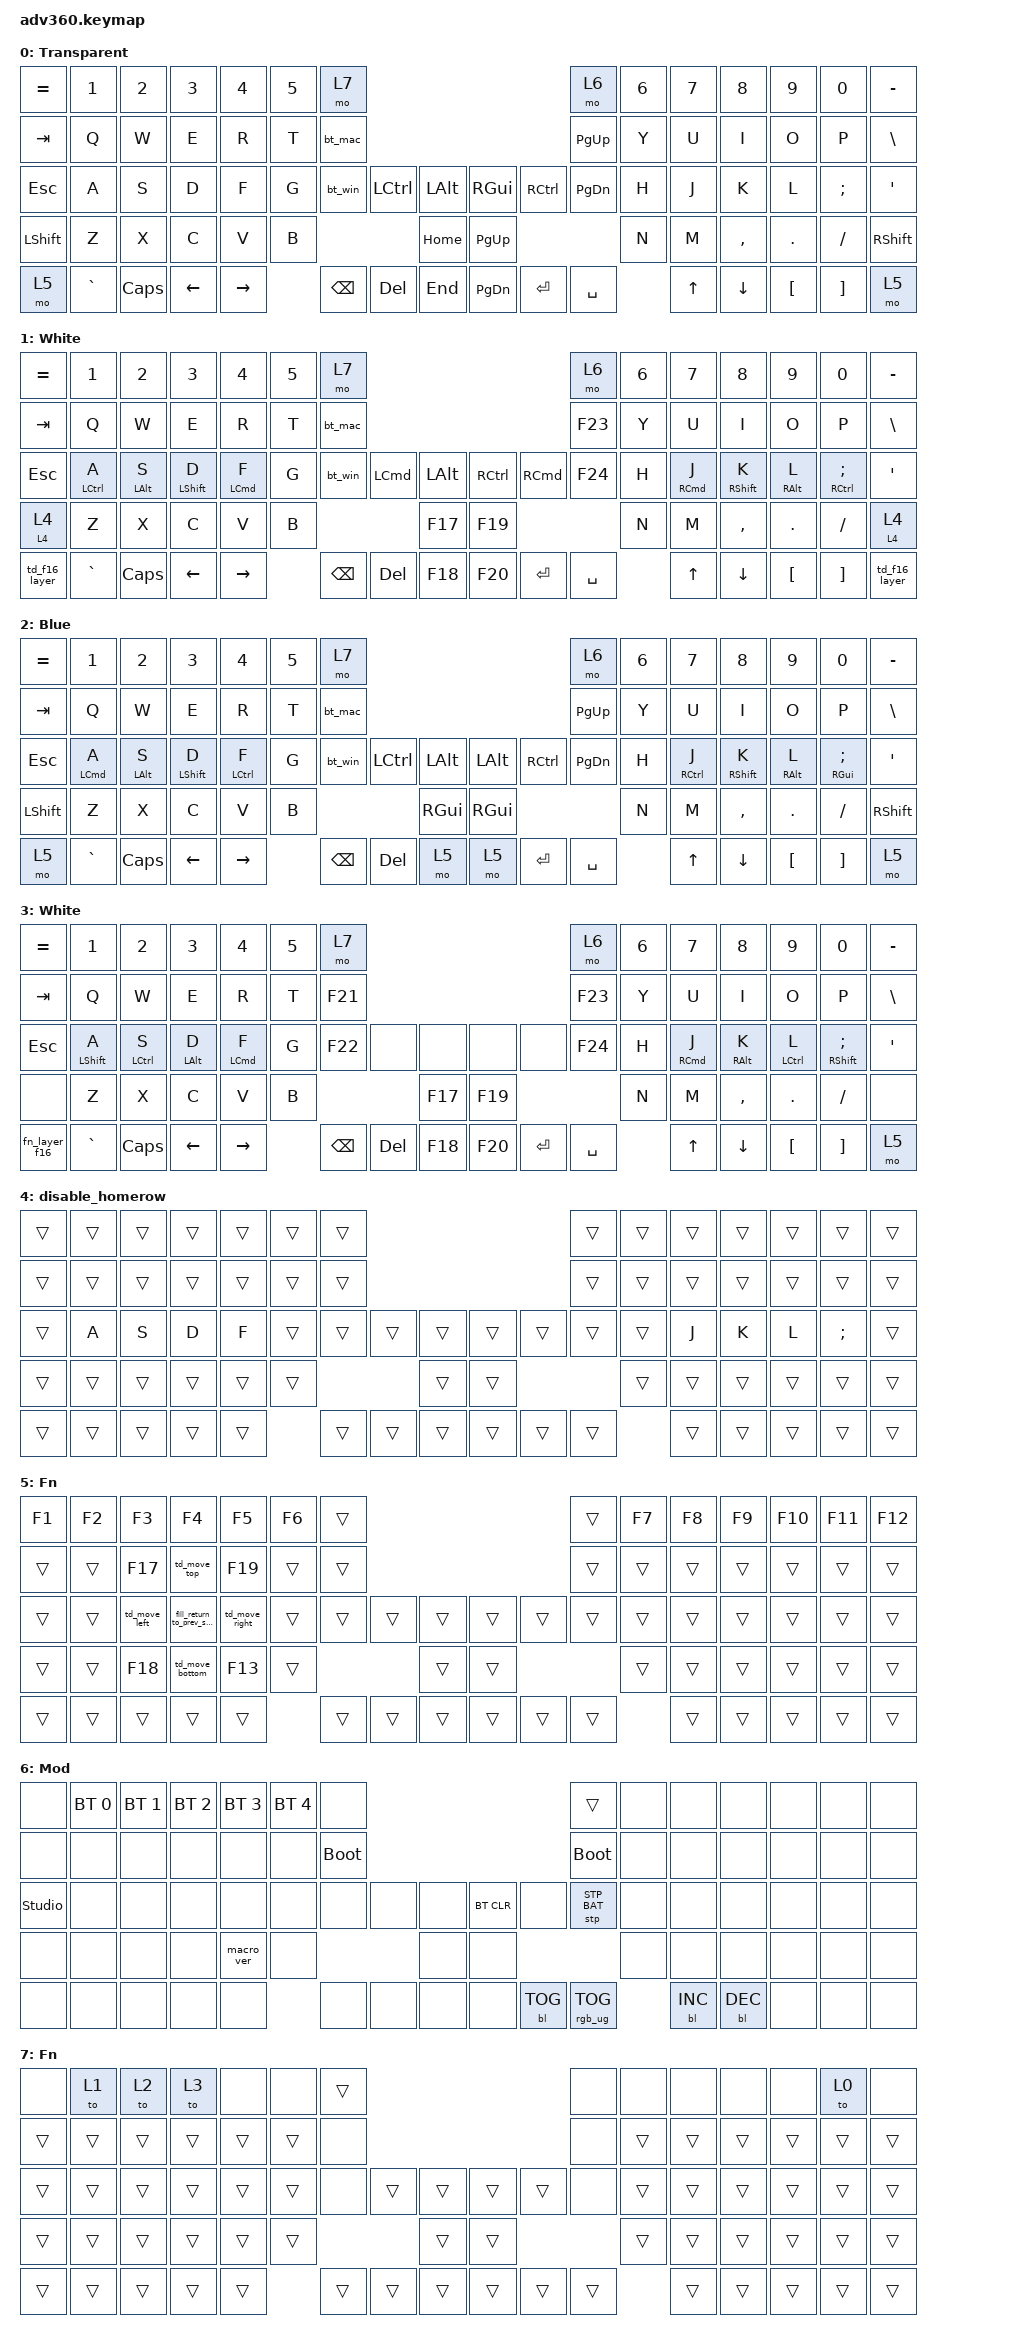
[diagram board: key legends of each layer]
#include <dt-bindings/zmk/stp.h>
#include <behaviors.dtsi>
#include <dt-bindings/zmk/backlight.h>
#include <dt-bindings/zmk/bt.h>
#include <dt-bindings/zmk/keys.h>
#include <dt-bindings/zmk/rgb.h>

/ {
    behaviors {
        #include "macros.dtsi"
      #include "version.dtsi"

        hmr: homerow_mods_right {
            compatible = "zmk,behavior-hold-tap";
            label = "HOMEROW_MODS_RIGHT";
            #binding-cells = <2>;
            tapping-term-ms = <280>;
            flavor = "balanced";
            bindings = <&kp>, <&kp>;

            hold-trigger-key-positions = <0 1 2 3 4 5 6 14 15 16 17 18 19 20 28 29 30 31 32 33 34 35 36 46 47 48 49 50 51 52 61 62 63 64 65 66 67 60>;
            hold-trigger-on-release;
        };

        hml: homerow_mods_left {
            compatible = "zmk,behavior-hold-tap";
            label = "HOMEROW_MODS_LEFT";
            #binding-cells = <2>;
            tapping-term-ms = <280>;
            flavor = "balanced";
            bindings = <&kp>, <&kp>;

            hold-trigger-key-positions = <7 8 9 10 11 12 13 26 27 44 45 58 59 74 7 8 9 10 11 12 13 21 22 23 24 25 26 27 37 38 39 40 41 42 43 44 45 53 54 55 56 57 58 59 68 69 70 71 72 73 74 75>;
            hold-trigger-on-release;
        };

        td_move_top: td_move_top {
            compatible = "zmk,behavior-tap-dance";
            label = "TD_MOVE_TOP";
            #binding-cells = <0>;
            bindings = <&tile_top>, <&arrange_top>;
        };

        td_move_bottom: td_move_bottom {
            compatible = "zmk,behavior-tap-dance";
            label = "TD_MOVE_BOTTOM";
            #binding-cells = <0>;
            bindings = <&tile_bottom>, <&arrange_bottom>;
        };

        td_move_left: td_move_left {
            compatible = "zmk,behavior-tap-dance";
            label = "TD_MOVE_LEFT";
            #binding-cells = <0>;
            bindings = <&tile_left>, <&arrange_left>;
        };

        td_move_right: td_move_right {
            compatible = "zmk,behavior-tap-dance";
            label = "TD_MOVE_RIGHT";
            #binding-cells = <0>;
            bindings = <&tile_right>, <&arrange_right>;
        };

        fill_return_to_prev_size: fill_return_to_prev_size {
            compatible = "zmk,behavior-tap-dance";
            label = "FILL_RETURN_TO_PREV_SIZE";
            #binding-cells = <0>;
            bindings = <&fill>, <&return_to_previous_size>;
        };

        td_f16_layer: td_f16_layer {
            compatible = "zmk,behavior-tap-dance";
            label = "TD_F16_LAYER";
            #binding-cells = <0>;
            bindings = <&fn_layer_f16>, <&mo 5>;

            tapping-term-ms = <100>;
        };

        ht_mo_layer: ht_mo_layer {
            compatible = "zmk,behavior-hold-tap";
            label = "HT_MO_LAYER";
            #binding-cells = <2>;
            tapping-term-ms = <280>;
            flavor = "balanced";
            bindings = <&mo>, <&kp>;

            require-prior-idle-ms = <150>;
        };

        ht_shift: ht_shift {
            compatible = "zmk,behavior-hold-tap";
            label = "HT_SHIFT";
            #binding-cells = <2>;
            tapping-term-ms = <280>;
            flavor = "balanced";
            bindings = <&kp>, <&kp>;

            require-prior-idle-ms = <150>;
        };

        ht_mo_toggle: ht_mo_toggle {
            compatible = "zmk,behavior-hold-tap";
            label = "HT_MO_TOGGLE";
            bindings = <&mo>, <&tog>;

            #binding-cells = <2>;
            tapping-term-ms = <150>;
            hold-while-undecided;
        };
    };

    macros {
        bt_mac: bt_mac {
            compatible = "zmk,behavior-macro";
            #binding-cells = <0>;
            bindings = <&bt BT_SEL 0 &to 1>;
            label = "BT_MAC";
        };

        bt_win: bt_win {
            compatible = "zmk,behavior-macro";
            #binding-cells = <0>;
            bindings = <&bt BT_SEL 1 &to 2>;
            label = "BT_WIN";
        };

        fn_layer_f16: globe_f {
            compatible = "zmk,behavior-macro";
            #binding-cells = <0>;
            bindings =
                <&macro_tap_time 0>,
                <&macro_wait_time 0>,
                <&macro_press>,
                <&mo 5 &kp F16>,
                <&macro_pause_for_release>,
                <&macro_release>,
                <&mo 5 &kp F16>;

            label = "GLOBE_F";
        };

        tile_left: tile_left {
            compatible = "zmk,behavior-macro";
            #binding-cells = <0>;
            bindings =
                <&macro_press>,
                <&kp F16 &kp LEFT_CONTROL &kp LEFT_ARROW>,
                <&macro_release>,
                <&kp F16 &kp LEFT_CONTROL &kp LEFT_ARROW>;

            label = "TILE_LEFT";
        };

        tile_top: tile_top {
            compatible = "zmk,behavior-macro";
            #binding-cells = <0>;
            bindings =
                <&macro_press>,
                <&kp F16 &kp LEFT_CONTROL &kp UP_ARROW>,
                <&macro_release>,
                <&kp F16 &kp LEFT_CONTROL &kp UP_ARROW>;

            label = "TILE_TOP";
        };

        tile_bottom: tile_bottom {
            compatible = "zmk,behavior-macro";
            #binding-cells = <0>;
            bindings =
                <&macro_press>,
                <&kp F16 &kp LEFT_CONTROL &kp DOWN_ARROW>,
                <&macro_release>,
                <&kp F16 &kp LEFT_CONTROL &kp DOWN_ARROW>;

            label = "TILE_BOTTOM";
        };

        tile_right: tile_right {
            compatible = "zmk,behavior-macro";
            #binding-cells = <0>;
            bindings =
                <&macro_press>,
                <&kp F16 &kp LEFT_CONTROL &kp RIGHT_ARROW>,
                <&macro_release>,
                <&kp F16 &kp LEFT_CONTROL &kp RIGHT_ARROW>;

            label = "TILE_RIGHT";
        };

        arrange_left: arrange_left {
            compatible = "zmk,behavior-macro";
            #binding-cells = <0>;
            bindings =
                <&macro_press>,
                <&kp F16 &kp LEFT_CONTROL &kp LEFT_SHIFT &kp LEFT_ARROW>,
                <&macro_release>,
                <&kp F16 &kp LEFT_CONTROL &kp LEFT_SHIFT &kp LEFT_ARROW>;

            label = "ARRANGE_LEFT";
        };

        arrange_right: arrange_right {
            compatible = "zmk,behavior-macro";
            #binding-cells = <0>;
            bindings =
                <&macro_press>,
                <&kp F16 &kp LEFT_CONTROL &kp LEFT_SHIFT &kp RIGHT_ARROW>,
                <&macro_release>,
                <&kp F16 &kp LEFT_CONTROL &kp LEFT_SHIFT &kp RIGHT_ARROW>;

            label = "ARRANGE_RIGHT";
        };

        arrange_top: arrange_top {
            compatible = "zmk,behavior-macro";
            #binding-cells = <0>;
            bindings =
                <&macro_press>,
                <&kp F16 &kp LEFT_CONTROL &kp LEFT_SHIFT &kp UP_ARROW>,
                <&macro_release>,
                <&kp F16 &kp LEFT_CONTROL &kp LEFT_SHIFT &kp UP_ARROW>;

            label = "ARRANGE_TOP";
        };

        arrange_bottom: arrange_bottom {
            compatible = "zmk,behavior-macro";
            #binding-cells = <0>;
            bindings =
                <&macro_press>,
                <&kp F16 &kp LEFT_CONTROL &kp LEFT_SHIFT &kp DOWN_ARROW>,
                <&macro_release>,
                <&kp F16 &kp LEFT_CONTROL &kp LEFT_SHIFT &kp DOWN_ARROW>;

            label = "ARRANGE_BOTTOM";
        };

        fill: fill {
            compatible = "zmk,behavior-macro";
            #binding-cells = <0>;
            bindings =
                <&macro_press>,
                <&kp F16 &kp LEFT_CONTROL &kp F>,
                <&macro_release>,
                <&kp F16 &kp LEFT_CONTROL &kp F>;

            label = "FILL";
        };

        return_to_previous_size: return_to_previous_size {
            compatible = "zmk,behavior-macro";
            #binding-cells = <0>;
            bindings =
                <&macro_press>,
                <&kp F16 &kp LEFT_CONTROL &kp R>,
                <&macro_release>,
                <&kp F16 &kp LEFT_CONTROL &kp R>;

            label = "RETURN_TO_PREVIOUS_SIZE";
        };
    };

    keymap {
        compatible = "zmk,keymap";

        Default {
            display-name = "Transparent";
            bindings = <
&kp EQUAL   &kp N1     &kp N2    &kp N3    &kp N4     &kp N5  &mo 7                                                                   &mo 6          &kp N6  &kp N7  &kp N8     &kp N9    &kp N0    &kp MINUS
&kp TAB     &kp Q      &kp W     &kp E     &kp R      &kp T   &bt_mac                                                                 &kp PAGE_UP    &kp Y   &kp U   &kp I      &kp O     &kp P     &kp BSLH
&kp ESCAPE  &kp A      &kp S     &kp D     &kp F      &kp G   &bt_win   &kp LEFT_CONTROL  &kp LEFT_ALT      &kp RIGHT_GUI  &kp RCTRL  &kp PAGE_DOWN  &kp H   &kp J   &kp K      &kp L     &kp SEMI  &kp SQT
&kp LSHFT   &kp Z      &kp X     &kp C     &kp V      &kp B                               &kp HOME          &kp PG_UP                                &kp N   &kp M   &kp COMMA  &kp DOT   &kp FSLH  &kp RSHFT
&mo 5       &kp GRAVE  &kp CAPS  &kp LEFT  &kp RIGHT          &kp BSPC  &kp DEL           &kp END           &kp PAGE_DOWN  &kp ENTER  &kp SPACE              &kp UP  &kp DOWN   &kp LBKT  &kp RBKT  &mo 5
            >;
        };

        mac {
            display-name = "White";
            bindings = <
&kp EQUAL          &kp N1               &kp N2           &kp N3             &kp N4               &kp N5  &mo 7                                                                               &mo 6      &kp N6  &kp N7                &kp N8              &kp N9            &kp N0                   &kp MINUS
&kp TAB            &kp Q                &kp W            &kp E              &kp R                &kp T   &bt_mac                                                                             &kp F23    &kp Y   &kp U                 &kp I               &kp O             &kp P                    &kp BSLH
&kp ESC            &hml LEFT_CONTROL A  &hml LEFT_ALT S  &hml LEFT_SHIFT D  &hml LEFT_COMMAND F  &kp G   &bt_win   &kp LEFT_COMMAND  &kp LEFT_ALT      &kp RIGHT_CONTROL  &kp RIGHT_COMMAND  &kp F24    &kp H   &hmr RIGHT_COMMAND J  &hmr RIGHT_SHIFT K  &hmr RIGHT_ALT L  &hmr RIGHT_CONTROL SEMI  &kp SQT
&ht_mo_toggle 4 4  &kp Z                &kp X            &kp C              &kp V                &kp B                               &kp F17           &kp F19                                          &kp N   &kp M                 &kp COMMA           &kp DOT           &kp FSLH                 &ht_mo_toggle 4 4
&td_f16_layer      &kp GRAVE            &kp CAPS         &kp LEFT           &kp RIGHT                    &kp BSPC  &kp DEL           &kp F18           &kp F20            &kp ENTER          &kp SPACE          &kp UP                &kp DOWN            &kp LBKT          &kp RBKT                 &td_f16_layer
            >;
        };

        win {
            display-name = "Blue";
            bindings = <
&kp EQUAL   &kp N1               &kp N2           &kp N3             &kp N4               &kp N5  &mo 7                                                                    &mo 6          &kp N6  &kp N7                &kp N8              &kp N9            &kp N0               &kp MINUS
&kp TAB     &kp Q                &kp W            &kp E              &kp R                &kp T   &bt_mac                                                                  &kp PAGE_UP    &kp Y   &kp U                 &kp I               &kp O             &kp P                &kp BSLH
&kp ESCAPE  &hml LEFT_COMMAND A  &hml LEFT_ALT S  &hml LEFT_SHIFT D  &hml LEFT_CONTROL F  &kp G   &bt_win   &kp LEFT_CONTROL  &kp LEFT_ALT       &kp LEFT_ALT   &kp RCTRL  &kp PAGE_DOWN  &kp H   &hmr RIGHT_CONTROL J  &hmr RIGHT_SHIFT K  &hmr RIGHT_ALT L  &hmr RIGHT_GUI SEMI  &kp SQT
&kp LSHFT   &kp Z                &kp X            &kp C              &kp V                &kp B                               &kp RIGHT_GUI      &kp RIGHT_GUI                            &kp N   &kp M                 &kp COMMA           &kp DOT           &kp FSLH             &kp RSHFT
&mo 5       &kp GRAVE            &kp CAPS         &kp LEFT           &kp RIGHT                    &kp BSPC  &kp DEL           &mo 5              &mo 5          &kp ENTER  &kp SPACE              &kp UP                &kp DOWN            &kp LBKT          &kp RBKT             &mo 5
            >;
        };

        mac_learn {
            display-name = "White";
            bindings = <
&kp EQUAL      &kp N1             &kp N2               &kp N3           &kp N4               &kp N5  &mo 7                                               &mo 6      &kp N6  &kp N7                &kp N8            &kp N9               &kp N0                 &kp MINUS
&kp TAB        &kp Q              &kp W                &kp E            &kp R                &kp T   &kp F21                                             &kp F23    &kp Y   &kp U                 &kp I             &kp O                &kp P                  &kp BSLH
&kp ESC        &hml LEFT_SHIFT A  &hml LEFT_CONTROL S  &hml LEFT_ALT D  &hml LEFT_COMMAND F  &kp G   &kp F22   &none    &none        &none    &none      &kp F24    &kp H   &hmr RIGHT_COMMAND J  &hmr RIGHT_ALT K  &hmr LEFT_CONTROL L  &hmr RIGHT_SHIFT SEMI  &kp SQT
&none          &kp Z              &kp X                &kp C            &kp V                &kp B                      &kp F17      &kp F19                        &kp N   &kp M                 &kp COMMA         &kp DOT              &kp FSLH               &none
&fn_layer_f16  &kp GRAVE          &kp CAPS             &kp LEFT         &kp RIGHT                    &kp BSPC  &kp DEL  &kp F18      &kp F20  &kp ENTER  &kp SPACE          &kp UP                &kp DOWN          &kp LBKT             &kp RBKT               &mo 5
            >;
        };

        disable_homerow {
            bindings = <
&trans  &trans  &trans  &trans  &trans  &trans  &trans                                      &trans  &trans  &trans  &trans  &trans  &trans         &trans
&trans  &trans  &trans  &trans  &trans  &trans  &trans                                      &trans  &trans  &trans  &trans  &trans  &trans         &trans
&trans  &kp A   &kp S   &kp D   &kp F   &trans  &trans  &trans  &trans      &trans  &trans  &trans  &trans  &kp J   &kp K   &kp L   &kp SEMICOLON  &trans
&trans  &trans  &trans  &trans  &trans  &trans                  &trans      &trans                  &trans  &trans  &trans  &trans  &trans         &trans
&trans  &trans  &trans  &trans  &trans          &trans  &trans  &trans      &trans  &trans  &trans          &trans  &trans  &trans  &trans         &trans
            >;
        };

        fn {
            display-name = "Fn";
            bindings = <
&kp F1  &kp F2  &kp F3         &kp F4                     &kp F5          &kp F6  &trans                                      &trans  &kp F7  &kp F8  &kp F9  &kp F10  &kp F11  &kp F12
&trans  &trans  &kp F17        &td_move_top               &kp F19         &trans  &trans                                      &trans  &trans  &trans  &trans  &trans   &trans   &trans
&trans  &trans  &td_move_left  &fill_return_to_prev_size  &td_move_right  &trans  &trans  &trans  &trans      &trans  &trans  &trans  &trans  &trans  &trans  &trans   &trans   &trans
&trans  &trans  &kp F18        &td_move_bottom            &kp F13         &trans                  &trans      &trans                  &trans  &trans  &trans  &trans   &trans   &trans
&trans  &trans  &trans         &trans                     &trans                  &trans  &trans  &trans      &trans  &trans  &trans          &trans  &trans  &trans   &trans   &trans
            >;
        };

        mod {
            display-name = "Mod";
            bindings = <
&none           &bt BT_SEL 0  &bt BT_SEL 1  &bt BT_SEL 2  &bt BT_SEL 3  &bt BT_SEL 4  &none                                                  &trans           &none  &none       &none       &none  &none  &none
&none           &none         &none         &none         &none         &none         &bootloader                                            &bootloader      &none  &none       &none       &none  &none  &none
&studio_unlock  &none         &none         &none         &none         &none         &none        &none  &none      &bt BT_CLR  &none       &stp STP_BAT     &none  &none       &none       &none  &none  &none
&none           &none         &none         &none         &macro_ver    &none                             &none      &none                                    &none  &none       &none       &none  &none  &none
&none           &none         &none         &none         &none                       &none        &none  &none      &none       &bl BL_TOG  &rgb_ug RGB_TOG         &bl BL_INC  &bl BL_DEC  &none  &none  &none
            >;
        };

        kp {
            display-name = "Fn";
            bindings = <
&none   &to 1   &to 2   &to 3   &none   &none   &trans                                      &none   &none   &none   &none   &none   &to 0   &none
&trans  &trans  &trans  &trans  &trans  &trans  &none                                       &none   &trans  &trans  &trans  &trans  &trans  &trans
&trans  &trans  &trans  &trans  &trans  &trans  &none   &trans  &trans      &trans  &trans  &none   &trans  &trans  &trans  &trans  &trans  &trans
&trans  &trans  &trans  &trans  &trans  &trans                  &trans      &trans                  &trans  &trans  &trans  &trans  &trans  &trans
&trans  &trans  &trans  &trans  &trans          &trans  &trans  &trans      &trans  &trans  &trans          &trans  &trans  &trans  &trans  &trans
            >;
        };
    };
};
